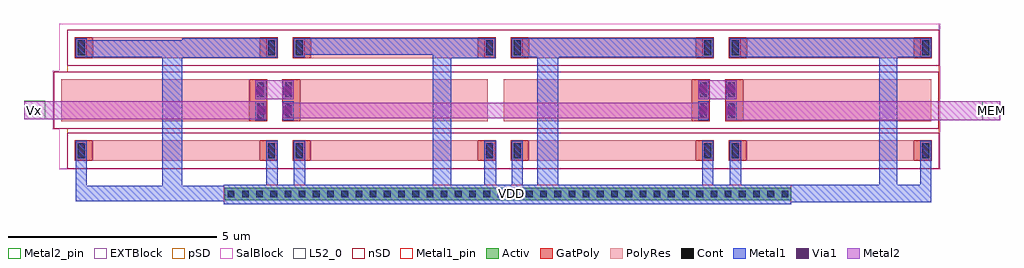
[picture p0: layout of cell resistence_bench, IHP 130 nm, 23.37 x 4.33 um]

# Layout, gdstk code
from math import pi, radians
import gdstk
lib = gdstk.Library(unit=1e-6, precision=5e-09)
def R(c, l, rs):  # rectangles x0, y0, x1, y1
    for r in rs: c.add(gdstk.rectangle(r[:2], r[2:], *l))
def A(c, l, x, y, w, h, nx, ny, dx, dy):  # array of equal rectangles
    R(c, l, [(x+i*dx, y+j*dy, x+i*dx+w, y+j*dy+h) for i in range(nx) for j in range(ny)])
Activ = (1, 0)
GatPoly = (5, 0)
Cont = (6, 0)
nSD = (7, 0)
Metal1 = (8, 0)
Metal1_pin = (8, 2)
Metal2 = (10, 0)
Metal2_pin = (10, 2)
pSD = (14, 0)
Via1 = (19, 0)
SalBlock = (28, 0)
L52_0 = (52, 0)
EXTBlock = (111, 0)
PolyRes = (128, 0)

rhigh = lib.new_cell('rhigh')
R(rhigh, GatPoly, [(0,-0.43,0.5,0), (0,4,0.5,4.43)])
R(rhigh, Cont, [(0.07,-0.36,0.43,-0.2), (0.07,4.2,0.43,4.36)])
R(rhigh, nSD, [(-0.18,-0.61,0.68,0.18), (-0.18,0,0.68,4), (-0.18,0,0.68,4), (-0.18,3.82,0.68,4.61)])
R(rhigh, Metal1, [(0.02,-0.41,0.48,-0.15), (0.02,4.15,0.48,4.41)])
R(rhigh, Metal1_pin, [(0.02,-0.41,0.48,-0.15), (0.02,4.15,0.48,4.41)])
R(rhigh, pSD, [(-0.18,-0.61,0.68,0.18), (-0.18,0,0.68,4), (-0.18,0,0.68,4), (-0.18,3.82,0.68,4.61)])
R(rhigh, SalBlock, [(-0.2,0,0.7,4)])
R(rhigh, L52_0, [(0,0,0.5,4)])
R(rhigh, EXTBlock, [(-0.18,-0.61,0.68,0.18), (-0.2,0,0.7,4), (-0.18,3.82,0.68,4.61)])
R(rhigh, PolyRes, [(0,0,0.5,4)])
rhigh.add(gdstk.Label('rhigh r=12146.087', (0.25,2), layer=63, texttype=0))
rhigh.add(gdstk.Label('rhigh', (0.25,2), layer=52, texttype=0))

via_stack_2 = lib.new_cell('via_stack$2')
R(via_stack_2, Activ, [(-6.78,-0.15,6.78,0.15)])
A(via_stack_2, Cont, -6.71, -0.08, 0.16, 0.16, 40, 1, 0.34, 0)
R(via_stack_2, Metal1, [(-6.76,-0.08,6.76,0.08)])

via_stack_3 = lib.new_cell('via_stack$3')
R(via_stack_3, Metal1, [(-0.145,-0.105,0.145,0.105)])
R(via_stack_3, Metal2, [(-0.145,-0.1,0.145,0.1)])
R(via_stack_3, Via1, [(-0.095,-0.095,0.095,0.095)])

rhigh_2 = lib.new_cell('rhigh$2')
R(rhigh_2, GatPoly, [(0,-0.43,0.5,0), (0.5,-0.43,1,0)])
R(rhigh_2, Cont, [(0.07,-0.36,0.43,-0.2), (0.57,-0.36,0.93,-0.2)])
R(rhigh_2, nSD, [(-0.18,-0.61,0.68,0.18), (0.32,-0.61,1.18,0.18), (-0.18,0,1.18,4), (-0.18,0,0.68,4), (0.32,0,1.18,4), (-0.18,4,1.18,4.68)])
R(rhigh_2, Metal1, [(0.02,-0.41,0.48,-0.15), (0.52,-0.41,0.98,-0.15)])
R(rhigh_2, Metal1_pin, [(0.02,-0.41,0.48,-0.15), (0.52,-0.41,0.98,-0.15)])
R(rhigh_2, pSD, [(-0.18,-0.61,0.68,0.18), (0.32,-0.61,1.18,0.18), (-0.18,0,1.18,4), (-0.18,0,0.68,4), (0.32,0,1.18,4), (-0.18,4,1.18,4.68)])
R(rhigh_2, SalBlock, [(-0.2,0,1.2,4), (-0.2,4,1.2,4.7)])
R(rhigh_2, L52_0, [(0,0,0.5,4), (0.5,0,1,4), (0,4,1,4.5)])
R(rhigh_2, EXTBlock, [(-0.18,-0.61,0.68,0.18), (0.32,-0.61,1.18,0.18), (-0.2,0,1.2,4), (-0.2,4,1.2,4.7)])
R(rhigh_2, PolyRes, [(0,0,0.5,4), (0.5,0,1,4), (0,4,1,4.5)])
rhigh_2.add(gdstk.Label('rhigh r=25442.444', (0.25,2), layer=63, texttype=0))
rhigh_2.add(gdstk.Label('rhigh', (0.25,2), layer=52, texttype=0))
rhigh_2.add(gdstk.Label('rhigh', (0.5,4.25), layer=52, texttype=0))
rhigh_2.add(gdstk.Label('rhigh', (0.75,2), layer=52, texttype=0))

resistence_bench = lib.new_cell('resistence_bench')
R(resistence_bench, Metal1, [(5.705,0.07,19.295,0.545), (19.295,0.12,22.385,0.545), (22.385,0.12,22.645,1.59), (2.165,0.15,2.425,1.59), (2.165,0.15,5.705,0.515), (4.235,0.515,4.715,4), (6.725,0.545,6.995,1.59), (7.385,0.545,7.665,1.59), (10.715,0.545,11.15,4.05), (11.945,0.545,12.23,1.59), (12.605,0.545,12.865,1.59), (13.21,0.545,13.72,4.05), (17.165,0.545,17.425,1.59), (17.825,0.545,18.105,1.59), (21.405,0.545,21.84,4.05), (11.15,3.57,12.205,4.05), (4.715,3.585,6.985,4.05), (2.165,3.59,4.715,4), (12.605,3.59,13.72,4.05), (13.165,3.59,17.425,4.05), (17.825,3.59,21.825,4.05), (21.405,3.59,22.645,4.05), (7.385,3.65,10.715,4.05)])
R(resistence_bench, Metal1_pin, [(5.705,0.07,19.295,0.545)])
R(resistence_bench, Metal2, [(17.735,2.085,24.295,2.545), (0.925,2.115,6.725,2.545), (7.105,2.13,17.325,2.505), (6.465,2.585,7.385,3.045), (17.065,2.585,17.995,3.045)])
R(resistence_bench, Metal2_pin, [(23.865,2.085,24.295,2.545), (0.925,2.115,1.435,2.55)])
R(resistence_bench, pSD, [(1.965,0.93,22.845,4.25)])
R(resistence_bench, SalBlock, [(1.77,0.91,22.865,4.4)])
R(resistence_bench, EXTBlock, [(1.77,0.93,22.845,4.4)])
resistence_bench.add(gdstk.Reference(rhigh, (18.235,4.07), rotation=3*pi/2))
resistence_bench.add(gdstk.Reference(rhigh, (13.015,4.07), rotation=3*pi/2))
resistence_bench.add(gdstk.Reference(rhigh, (7.795,4.07), rotation=3*pi/2))
resistence_bench.add(gdstk.Reference(rhigh, (2.575,4.07), rotation=3*pi/2))
resistence_bench.add(gdstk.Reference(rhigh, (18.235,1.61), rotation=3*pi/2))
resistence_bench.add(gdstk.Reference(rhigh, (13.015,1.61), rotation=3*pi/2))
resistence_bench.add(gdstk.Reference(rhigh, (7.795,1.61), rotation=3*pi/2))
resistence_bench.add(gdstk.Reference(rhigh, (2.575,1.61), rotation=3*pi/2))
resistence_bench.add(gdstk.Reference(via_stack_2, (12.515,0.32)))
resistence_bench.add(gdstk.Reference(via_stack_3, (17.855,2.315), rotation=3*pi/2))
resistence_bench.add(gdstk.Reference(via_stack_3, (17.855,2.835), rotation=3*pi/2))
resistence_bench.add(gdstk.Reference(via_stack_3, (17.185,2.835), rotation=3*pi/2))
resistence_bench.add(gdstk.Reference(via_stack_3, (17.185,2.325), rotation=3*pi/2))
resistence_bench.add(gdstk.Reference(via_stack_3, (7.245,2.325), rotation=3*pi/2))
resistence_bench.add(gdstk.Reference(via_stack_3, (7.245,2.795), rotation=3*pi/2))
resistence_bench.add(gdstk.Reference(via_stack_3, (6.585,2.795), rotation=3*pi/2))
resistence_bench.add(gdstk.Reference(via_stack_3, (6.605,2.32), rotation=3*pi/2))
resistence_bench.add(gdstk.Reference(rhigh_2, (7.535,3.065), rotation=3*pi/2))
resistence_bench.add(gdstk.Reference(rhigh_2, (16.915,2.065), rotation=pi/2))
resistence_bench.add(gdstk.Reference(rhigh_2, (18.145,3.065), rotation=3*pi/2))
resistence_bench.add(gdstk.Reference(rhigh_2, (6.315,2.065), rotation=pi/2))
resistence_bench.add(gdstk.Label('VDD', (12.605,0.32), layer=8, texttype=2))
resistence_bench.add(gdstk.Label('MEM', (24.08,2.315), layer=10, texttype=2))
resistence_bench.add(gdstk.Label('Vx', (1.18,2.32), layer=10, texttype=2))

lib.write_gds('resistence_bench.gds')
